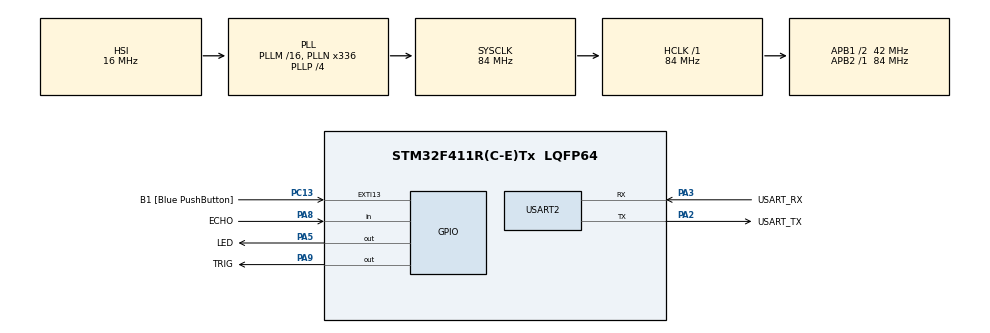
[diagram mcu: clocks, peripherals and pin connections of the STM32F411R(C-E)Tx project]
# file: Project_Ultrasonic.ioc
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Mcu.Family=STM32F4
Mcu.Name=STM32F411R(C-E)Tx
Mcu.Package=LQFP64
NVIC.PriorityGroup=NVIC_PRIORITYGROUP_4
PA13.GPIO_Label=TMS
PA13.Signal=SYS_JTMS-SWDIO
PA14.GPIO_Label=TCK
PA14.Signal=SYS_JTCK-SWCLK
PA2.GPIO_Label=USART_TX
PA2.Mode=Asynchronous
PA2.Signal=USART2_TX
PA3.GPIO_Label=USART_RX
PA3.Mode=Asynchronous
PA3.Signal=USART2_RX
PA5.GPIO_Label=LED
PA5.Signal=GPIO_Output
PA8.GPIO_Label=ECHO
PA8.Signal=GPIO_Input
PA9.GPIO_Label=TRIG
PA9.Signal=GPIO_Output
PB3.GPIO_Label=SWO
PB3.Signal=SYS_JTDO-SWO
PC13-ANTI_TAMP.GPIO_Label=B1 [Blue PushButton]
PC13-ANTI_TAMP.GPIO_ModeDefaultEXTI=GPIO_MODE_IT_FALLING
PC13-ANTI_TAMP.Signal=GPXTI13
PC14-OSC32_IN.Signal=RCC_OSC32_IN
PC15-OSC32_OUT.Signal=RCC_OSC32_OUT
PH0\ -\ OSC_IN.Signal=RCC_OSC_IN
PH1\ -\ OSC_OUT.Signal=RCC_OSC_OUT
ProjectManager.HeapSize=0x200
ProjectManager.StackSize=0x400
ProjectManager.TargetToolchain=SW4STM32
RCC.48MHZClocksFreq_Value=84000000
RCC.AHBFreq_Value=84000000
RCC.APB1CLKDivider=RCC_HCLK_DIV2
RCC.APB1Freq_Value=42000000
RCC.APB1TimFreq_Value=84000000
RCC.APB2Freq_Value=84000000
RCC.APB2TimFreq_Value=84000000
RCC.CortexFreq_Value=84000000
RCC.FLatency-AdvancedSettings=FLASH_LATENCY_2
RCC.HCLKFreq_Value=84000000
RCC.HSE_VALUE=8000000
RCC.HSI_VALUE=16000000
RCC.LSE_VALUE=32768
RCC.PLLN=336
RCC.PLLP=RCC_PLLP_DIV4
RCC.SYSCLKFreq_VALUE=84000000
RCC.SYSCLKSource=RCC_SYSCLKSOURCE_PLLCLK
RCC.VCOOutputFreq_Value=336000000
TIM4.Prescaler=84-1
USART2.VirtualMode=VM_ASYNC
VP_TIM4_VS_ClockSourceINT.Mode=Internal
board=NUCLEO-F411RE

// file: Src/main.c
/* USER CODE BEGIN Header */
/**
  ******************************************************************************
  * @file           : main.c
  * @brief          : Main program body
  ******************************************************************************
  * @attention
  *
  * <h2><center>&copy; Copyright (c) 2019 STMicroelectronics.
  * All rights reserved.</center></h2>
  *
  * This software component is licensed by ST under BSD 3-Clause license,
  * the "License"; You may not use this file except in compliance with the
  * License. You may obtain a copy of the License at:
  *                        opensource.org/licenses/BSD-3-Clause
  *
  *
  * void delay(uint32_t us); implemented by TIMER4
  *
  ******************************************************************************
  */
/* USER CODE END Header */

#include "main.h"

/* USER CODE BEGIN Includes */
#include <string.h>
#include <stdio.h>

/* USER CODE END Includes */

TIM_HandleTypeDef htim4;

UART_HandleTypeDef huart2;

void SystemClock_Config(void);
static void MX_GPIO_Init(void);
static void MX_TIM4_Init(void);
static void MX_USART2_UART_Init(void);
/* USER CODE BEGIN PFP */
void delay(uint32_t us);
float get_distance(void);
/* USER CODE END PFP */

/* USER CODE BEGIN 0 */
float distance;

char uartBuffer[100];
/* USER CODE END 0 */

int main(void)
{

  /* MCU Configuration--------------------------------------------------------*/

  /* Reset of all peripherals, Initializes the Flash interface and the Systick. */
  HAL_Init();

  /* Configure the system clock */
  SystemClock_Config();

  /* Initialize all configured peripherals */
  MX_GPIO_Init();
  MX_TIM4_Init();
  MX_USART2_UART_Init();

  /* Infinite loop */
  while (1)
  {

    /* USER CODE BEGIN 3 */
	distance = get_distance();

	// 6. Print UART
	sprintf(uartBuffer, "Distance : %.1f (cm)\r\n", distance);
	HAL_UART_Transmit(&huart2, (uint8_t *)uartBuffer, strlen(uartBuffer), 100);

	HAL_GPIO_WritePin(GPIOA, GPIO_PIN_5, GPIO_PIN_SET);
	HAL_Delay(100);
	HAL_GPIO_WritePin(GPIOA, GPIO_PIN_5, GPIO_PIN_RESET);
	HAL_Delay(100);
  }
  /* USER CODE END 3 */
}

void SystemClock_Config(void)
{
  RCC_OscInitTypeDef RCC_OscInitStruct = {0};
  RCC_ClkInitTypeDef RCC_ClkInitStruct = {0};

  /** Configure the main internal regulator output voltage
  */
  __HAL_RCC_PWR_CLK_ENABLE();
  __HAL_PWR_VOLTAGESCALING_CONFIG(PWR_REGULATOR_VOLTAGE_SCALE1);
  /** Initializes the CPU, AHB and APB busses clocks
  */
  RCC_OscInitStruct.OscillatorType = RCC_OSCILLATORTYPE_HSI;
  RCC_OscInitStruct.HSIState = RCC_HSI_ON;
  RCC_OscInitStruct.HSICalibrationValue = RCC_HSICALIBRATION_DEFAULT;
  RCC_OscInitStruct.PLL.PLLState = RCC_PLL_ON;
  RCC_OscInitStruct.PLL.PLLSource = RCC_PLLSOURCE_HSI;
  RCC_OscInitStruct.PLL.PLLM = 16;
  RCC_OscInitStruct.PLL.PLLN = 336;
  RCC_OscInitStruct.PLL.PLLP = RCC_PLLP_DIV4;
  RCC_OscInitStruct.PLL.PLLQ = 4;
  if (HAL_RCC_OscConfig(&RCC_OscInitStruct) != HAL_OK)
  {
    Error_Handler();
  }
  /** Initializes the CPU, AHB and APB busses clocks
  */
  RCC_ClkInitStruct.ClockType = RCC_CLOCKTYPE_HCLK|RCC_CLOCKTYPE_SYSCLK
                              |RCC_CLOCKTYPE_PCLK1|RCC_CLOCKTYPE_PCLK2;
  RCC_ClkInitStruct.SYSCLKSource = RCC_SYSCLKSOURCE_PLLCLK;
  RCC_ClkInitStruct.AHBCLKDivider = RCC_SYSCLK_DIV1;
  RCC_ClkInitStruct.APB1CLKDivider = RCC_HCLK_DIV2;
  RCC_ClkInitStruct.APB2CLKDivider = RCC_HCLK_DIV1;

  if (HAL_RCC_ClockConfig(&RCC_ClkInitStruct, FLASH_LATENCY_2) != HAL_OK)
  {
    Error_Handler();
  }
}

static void MX_TIM4_Init(void)
{

  TIM_ClockConfigTypeDef sClockSourceConfig = {0};
  TIM_MasterConfigTypeDef sMasterConfig = {0};

  htim4.Instance = TIM4;
  htim4.Init.Prescaler = 84-1;
  htim4.Init.CounterMode = TIM_COUNTERMODE_UP;
  htim4.Init.Period = 0;
  htim4.Init.ClockDivision = TIM_CLOCKDIVISION_DIV1;
  htim4.Init.AutoReloadPreload = TIM_AUTORELOAD_PRELOAD_DISABLE;
  if (HAL_TIM_Base_Init(&htim4) != HAL_OK)
  {
    Error_Handler();
  }
  sClockSourceConfig.ClockSource = TIM_CLOCKSOURCE_INTERNAL;
  if (HAL_TIM_ConfigClockSource(&htim4, &sClockSourceConfig) != HAL_OK)
  {
    Error_Handler();
  }
  sMasterConfig.MasterOutputTrigger = TIM_TRGO_RESET;
  sMasterConfig.MasterSlaveMode = TIM_MASTERSLAVEMODE_DISABLE;
  if (HAL_TIMEx_MasterConfigSynchronization(&htim4, &sMasterConfig) != HAL_OK)
  {
    Error_Handler();
  }

}

static void MX_USART2_UART_Init(void)
{

  huart2.Instance = USART2;
  huart2.Init.BaudRate = 115200;
  huart2.Init.WordLength = UART_WORDLENGTH_8B;
  huart2.Init.StopBits = UART_STOPBITS_1;
  huart2.Init.Parity = UART_PARITY_NONE;
  huart2.Init.Mode = UART_MODE_TX_RX;
  huart2.Init.HwFlowCtl = UART_HWCONTROL_NONE;
  huart2.Init.OverSampling = UART_OVERSAMPLING_16;
  if (HAL_UART_Init(&huart2) != HAL_OK)
  {
    Error_Handler();
  }

}

static void MX_GPIO_Init(void)
{
  GPIO_InitTypeDef GPIO_InitStruct = {0};

  /* GPIO Ports Clock Enable */
  __HAL_RCC_GPIOC_CLK_ENABLE();
  __HAL_RCC_GPIOH_CLK_ENABLE();
  __HAL_RCC_GPIOA_CLK_ENABLE();
  __HAL_RCC_GPIOB_CLK_ENABLE();

  /*Configure GPIO pin Output Level */
  HAL_GPIO_WritePin(GPIOA, LED_Pin|TRIG_Pin, GPIO_PIN_RESET);

  /*Configure GPIO pin : B1_Pin */
  GPIO_InitStruct.Pin = B1_Pin;
  GPIO_InitStruct.Mode = GPIO_MODE_IT_FALLING;
  GPIO_InitStruct.Pull = GPIO_NOPULL;
  HAL_GPIO_Init(B1_GPIO_Port, &GPIO_InitStruct);

  /*Configure GPIO pins : LED_Pin TRIG_Pin */
  GPIO_InitStruct.Pin = LED_Pin|TRIG_Pin;
  GPIO_InitStruct.Mode = GPIO_MODE_OUTPUT_PP;
  GPIO_InitStruct.Pull = GPIO_NOPULL;
  GPIO_InitStruct.Speed = GPIO_SPEED_FREQ_LOW;
  HAL_GPIO_Init(GPIOA, &GPIO_InitStruct);

  /*Configure GPIO pin : ECHO_Pin */
  GPIO_InitStruct.Pin = ECHO_Pin;
  GPIO_InitStruct.Mode = GPIO_MODE_INPUT;
  GPIO_InitStruct.Pull = GPIO_NOPULL;
  HAL_GPIO_Init(ECHO_GPIO_Port, &GPIO_InitStruct);

}

/* USER CODE BEGIN 4 */
void delay(uint32_t us) {
	if(us < 2) us = 2;
	TIM4->ARR = us - 1;
	TIM4->EGR = 1;
	TIM4->SR &= ~1;
	TIM4->CR1 |= 1;
	while((TIM4->SR & 0x0001) != 1);
	TIM4->SR &= ~(0x0001);
}

float get_distance(void) {
	const float speedOfSound = 0.0343/2;

	// 1. Set TRIG to low for few second
	HAL_GPIO_WritePin(TRIG_GPIO_Port, TRIG_Pin, GPIO_PIN_RESET);
	delay(3); //
	// 2. Start ultrasonic measure routine
	HAL_GPIO_WritePin(TRIG_GPIO_Port, TRIG_Pin, GPIO_PIN_SET);
	delay(10);
	HAL_GPIO_WritePin(TRIG_GPIO_Port, TRIG_Pin, GPIO_PIN_RESET);
	// 3. Wait for ECHO pin rising edge
	while(!HAL_GPIO_ReadPin(ECHO_GPIO_Port, ECHO_Pin));

	// 4. Measuring ECHO pulse width in usec
	uint32_t numTicks = 0;
	while(HAL_GPIO_ReadPin(ECHO_GPIO_Port, ECHO_Pin) == GPIO_PIN_SET) {
		numTicks++;
		delay(2); // Actually 2.8 usec
	}

	// 5. Estimate the distance in cm
	return (numTicks + 0.0f) * 2.8 /* delay time */ * speedOfSound;

}
/* USER CODE END 4 */

void Error_Handler(void)
{
}

/************************ (C) COPYRIGHT STMicroelectronics *****END OF FILE****/
